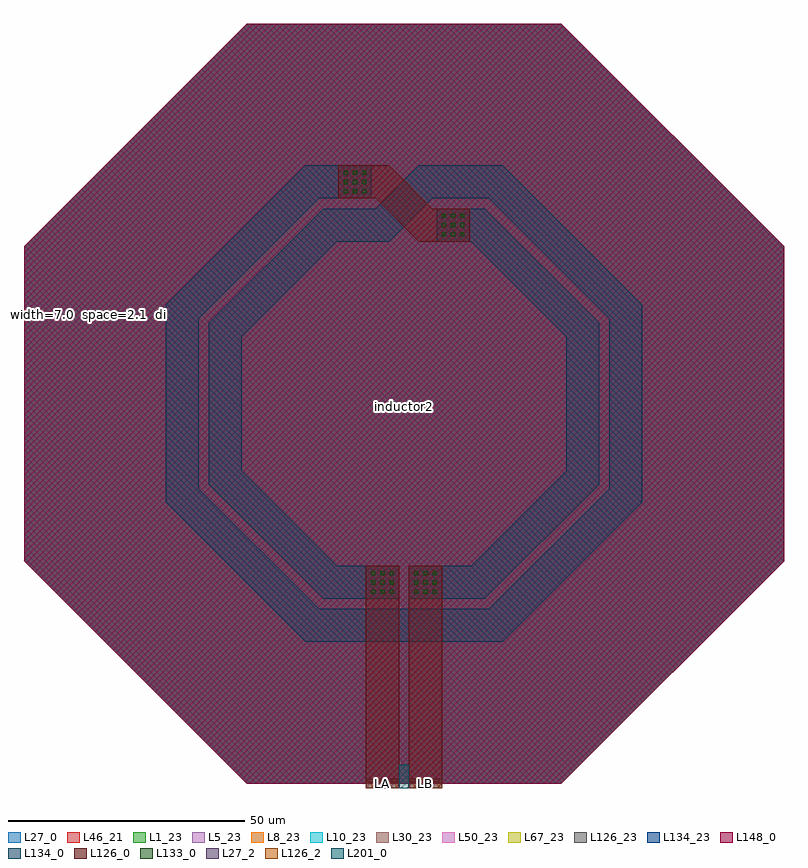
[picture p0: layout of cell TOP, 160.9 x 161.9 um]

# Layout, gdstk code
import gdstk
lib = gdstk.Library(unit=1e-6, precision=1e-09)
def R(c, l, rs):  # rectangles x0, y0, x1, y1
    for r in rs: c.add(gdstk.rectangle(r[:2], r[2:], *l))
def A(c, l, x, y, w, h, nx, ny, dx, dy):  # array of equal rectangles
    R(c, l, [(x+i*dx, y+j*dy, x+i*dx+w, y+j*dy+h) for i in range(nx) for j in range(ny)])
def P(c, l, *ps):  # polygons
    for p in ps: c.add(gdstk.Polygon(p, *l))
L1_23 = (1, 23)
L5_23 = (5, 23)
L8_23 = (8, 23)
L10_23 = (10, 23)
L27_0 = (27, 0)
L27_2 = (27, 2)
L30_23 = (30, 23)
L46_21 = (46, 21)
L50_23 = (50, 23)
L67_23 = (67, 23)
L126_0 = (126, 0)
L126_2 = (126, 2)
L126_23 = (126, 23)
L133_0 = (133, 0)
L134_0 = (134, 0)
L134_23 = (134, 23)
L148_0 = (148, 0)
L201_0 = (201, 0)

top = lib.new_cell('TOP')
P(top, L1_23, [(-34.45,-25.18),(-81.58,21.95),(-81.58,88.59),(-34.45,135.72),(32.19,135.72),(79.32,88.59),(79.32,21.95),(32.19,-25.18)])
P(top, L5_23, [(-34.45,-25.18),(-81.58,21.95),(-81.58,88.59),(-34.45,135.72),(32.19,135.72),(79.32,88.59),(79.32,21.95),(32.19,-25.18)])
P(top, L8_23, [(-34.45,-25.18),(-81.58,21.95),(-81.58,88.59),(-34.45,135.72),(32.19,135.72),(79.32,88.59),(79.32,21.95),(32.19,-25.18)])
P(top, L10_23, [(-34.45,-25.18),(-81.58,21.95),(-81.58,88.59),(-34.45,135.72),(32.19,135.72),(79.32,88.59),(79.32,21.95),(32.19,-25.18)])
P(top, L27_0, [(-34.45,-25.18),(-81.58,21.95),(-81.58,88.59),(-34.45,135.72),(32.19,135.72),(79.32,88.59),(79.32,21.95),(32.19,-25.18)])
R(top, L27_2, [(-9.18,-26.18,-2.18,-24.18), (-0.08,-26.18,6.92,-24.18)])
P(top, L30_23, [(-34.45,-25.18),(-81.58,21.95),(-81.58,88.59),(-34.45,135.72),(32.19,135.72),(79.32,88.59),(79.32,21.95),(32.19,-25.18)])
P(top, L46_21, [(-34.45,-25.18),(-81.58,21.95),(-81.58,88.59),(-34.45,135.72),(32.19,135.72),(79.32,88.59),(79.32,21.95),(32.19,-25.18)])
P(top, L50_23, [(-34.45,-25.18),(-81.58,21.95),(-81.58,88.59),(-34.45,135.72),(32.19,135.72),(79.32,88.59),(79.32,21.95),(32.19,-25.18)])
P(top, L67_23, [(-34.45,-25.18),(-81.58,21.95),(-81.58,88.59),(-34.45,135.72),(32.19,135.72),(79.32,88.59),(79.32,21.95),(32.19,-25.18)])
P(top, L126_0, [(1.995,89.58),(-7.125,98.7),(-15.015,98.7),(-15.015,105.7),(-4.255,105.7),(4.865,96.58),(12.755,96.58),(12.755,89.58)])
R(top, L126_2, [(-9.18,-26.18,-2.18,-24.18), (-0.08,-26.18,6.92,-24.18)])
P(top, L126_23, [(-34.45,-25.18),(-81.58,21.95),(-81.58,88.59),(-34.45,135.72),(32.19,135.72),(79.32,88.59),(79.32,21.95),(32.19,-25.18)])
A(top, L133_0, -8.09, 15.01, 0.9, 0.9, 3, 3, 1.96, 1.96)
A(top, L133_0, 1.01, 15.01, 0.9, 0.9, 3, 3, 1.96, 1.96)
A(top, L133_0, 6.845, 90.67, 0.9, 0.9, 3, 3, 1.96, 1.96)
A(top, L133_0, -13.925, 99.77, 0.9, 0.9, 3, 3, 1.96, 1.96)
R(top, L134_0, [(-8.015,4.82,5.755,11.82)])
P(top, L134_0, [(-0.08,13.92),(-0.08,20.92),(13.085,20.92),(33.2,41.035),(33.2,69.465),(13.085,89.58),(5.755,89.58),(5.755,96.58),(15.995,96.58),(40.2,72.375),(40.2,38.125),(15.995,13.92)],
  [(-18.255,13.92),(-42.46,38.125),(-42.46,72.375),(-18.255,96.58),(-8.015,96.58),(-8.015,89.58),(-15.345,89.58),(-35.46,69.465),(-35.46,41.035),(-15.345,20.92),(-2.18,20.92),(-2.18,13.92)],
  [(-8.015,89.58),(-8.015,96.58),(-7.125,96.58),(1.995,105.7),(5.755,105.7),(5.755,98.7),(4.895,98.7),(-4.225,89.58)],
  [(5.755,4.82),(5.755,11.82),(16.86,11.82),(42.31,37.27),(42.31,73.25),(16.86,98.7),(5.755,98.7),(5.755,105.7),(19.77,105.7),(49.31,76.16),(49.31,34.36),(19.77,4.82)],
  [(-22.03,4.82),(-51.57,34.36),(-51.57,76.16),(-22.03,105.7),(-8.015,105.7),(-8.015,98.7),(-19.12,98.7),(-44.57,73.25),(-44.57,37.27),(-19.12,11.82),(-8.015,11.82),(-8.015,4.82)])
P(top, L134_23, [(-34.45,-25.18),(-81.58,21.95),(-81.58,88.59),(-34.45,135.72),(32.19,135.72),(79.32,88.59),(79.32,21.95),(32.19,-25.18)])
P(top, L148_0, [(-34.45,-25.18),(-81.58,21.95),(-81.58,88.59),(-34.45,135.72),(32.19,135.72),(79.32,88.59),(79.32,21.95),(32.19,-25.18)])
R(top, L201_0, [(-2.18,-26.18,-0.08,-21.18)])
top.add(gdstk.FlexPath([(3.42,-26.18),(3.42,20.92)], 7, ends="flush", simple_path=True, layer=126, datatype=0))  # L126_0
top.add(gdstk.FlexPath([(-5.68,-26.18),(-5.68,20.92)], 7, ends="flush", simple_path=True, layer=126, datatype=0))  # L126_0
top.add(gdstk.Label('LB', (3.42,-25.18), layer=27, texttype=25))
top.add(gdstk.Label('LA', (-5.68,-25.18), layer=27, texttype=25))
top.add(gdstk.Label('inductor2', (-1.13,54.642), layer=63, texttype=0))
top.add(gdstk.Label('  width=7.0\n  space=2.1\n  diameter=68.66\n  turns=2', (-81.58,74.165), layer=63, texttype=0))

lib.write_gds('TOP.gds')
